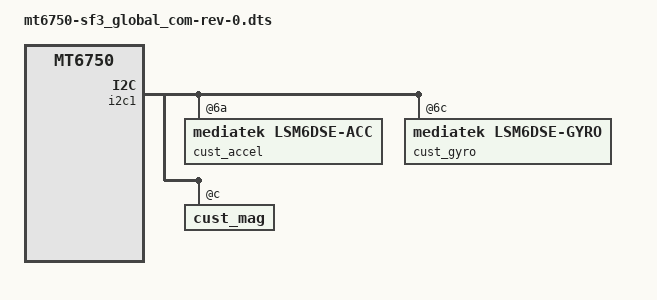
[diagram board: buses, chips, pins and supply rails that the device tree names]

/dts-v1/;

#include "../muse6750_hdk_n_lge.dtsi"

#include "../mt6750-common.dtsi"
#include "mt6750-sf3_global_com-power.dtsi"
#include "mt6750-sf3_global_com-panel.dtsi"
#include "mt6750-sf3_global_com-touch.dtsi"
#include "mt6750-sf3_global_com-sensor.dtsi"
#include "mt6750-sf3_global_com-fingerprint.dtsi"
#include "mt6750-sf3_global_com-misc.dtsi"
#include "mt6750-sf3_global_com-sound.dtsi"
#include "mt6750-sf3_global_com-nfc.dtsi"
#include "mt6750-sf3_global_com-common.dtsi"
#include "mt6750-sf3_global_com-usb.dtsi"
#include "mt6750-sf3_global_com-camera.dtsi"

/ {
	/*
	typedef enum {
		HW_REV_0 = 0,
		HW_REV_0_1,
		HW_REV_A,
		HW_REV_B,
		HW_REV_C,
		HW_REV_1_0,
		HW_REV_1_1,
		HW_REV_MAX
	} rev_type;
	*/
	lge,pcb_revision = <0x0>; // rev_0
};

&i2c1 {
	cust_accel@6a {
		compatible = "mediatek,lsm6dse-acc";
		direction = <4>;
	};

	cust_gyro@6c {
		compatible = "mediatek,lsm6dse-gyro";
		direction = <4>;
	};

	cust_mag@c {
		direction = <6>;
	};
};

//&i2c3 {
//	cust_mag@c {
//		direction = <6>;
//	};
//};

&bat_meter {
	/* cust_battery_meter.h */
	r_charger_2 = <39 >;
};
